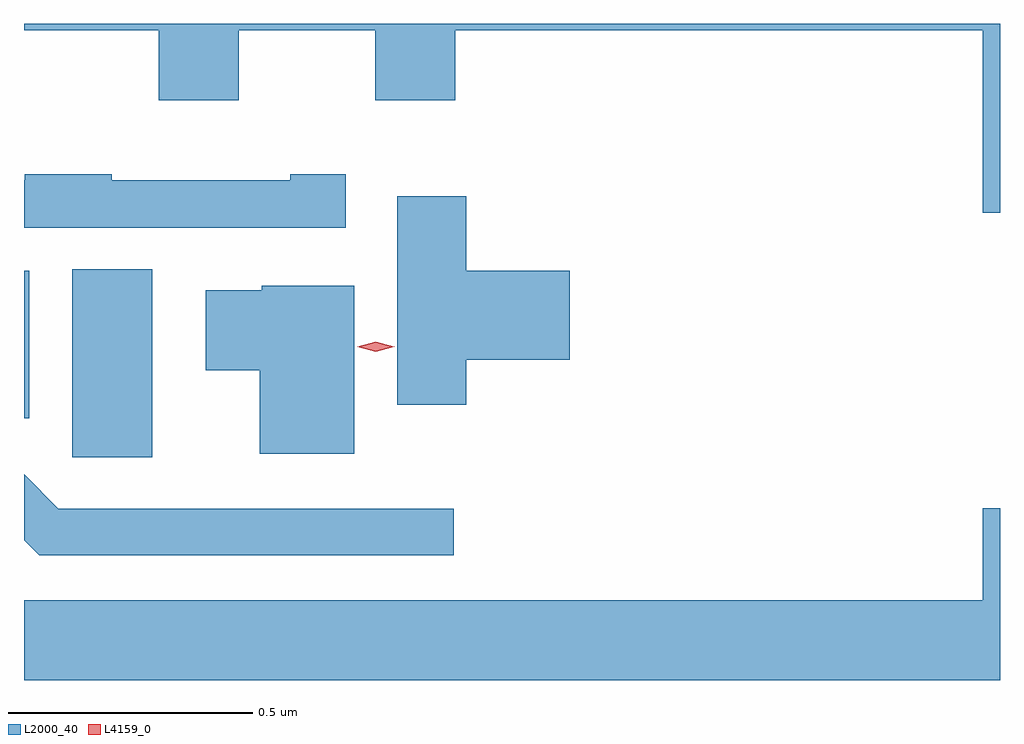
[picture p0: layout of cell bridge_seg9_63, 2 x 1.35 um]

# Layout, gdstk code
import gdstk
lib = gdstk.Library(unit=1e-6, precision=1e-09)
def R(c, l, rs):  # rectangles x0, y0, x1, y1
    for r in rs: c.add(gdstk.rectangle(r[:2], r[2:], *l))
def P(c, l, *ps):  # polygons
    for p in ps: c.add(gdstk.Polygon(p, *l))
L2000_40 = (2000, 40)
L4159_0 = (4159, 0)

bridge_seg9_63 = lib.new_cell('bridge_seg9_63')
R(bridge_seg9_63, L2000_40, [(1086.218,1179.561,1086.382,1179.947), (1086.119,1179.641,1086.13,1179.943)])
P(bridge_seg9_63, L2000_40, [(1088.119,1180.45),(1086.119,1180.45),(1086.119,1180.436),(1086.395,1180.436),(1086.395,1180.293),(1086.559,1180.293),(1086.559,1180.436),(1086.839,1180.436),(1086.839,1180.293),(1087.003,1180.293),(1087.003,1180.436),(1088.084,1180.436),(1088.084,1180.062),(1088.119,1180.062)],
  [(1086.778,1180.141),(1086.665,1180.141),(1086.665,1180.129),(1086.299,1180.129),(1086.299,1180.141),(1086.121,1180.141),(1086.121,1180.129),(1086.119,1180.129),(1086.119,1180.032),(1086.778,1180.032)],
  [(1087.025,1179.761),(1087.237,1179.761),(1087.237,1179.944),(1087.025,1179.944),(1087.025,1180.096),(1086.884,1180.096),(1086.884,1179.669),(1087.025,1179.669)],
  [(1086.796,1179.913),(1086.606,1179.913),(1086.606,1179.904),(1086.491,1179.904),(1086.491,1179.74),(1086.602,1179.74),(1086.602,1179.569),(1086.796,1179.569)],
  [(1087,1179.456),(1086.189,1179.456),(1086.119,1179.526),(1086.119,1179.391),(1086.15,1179.36),(1087,1179.36)],
  [(1088.119,1179.457),(1088.084,1179.457),(1088.084,1179.268),(1086.119,1179.268),(1086.119,1179.104),(1088.119,1179.104)])
P(bridge_seg9_63, L4159_0, [(1086.84,1179.778),(1086.802,1179.788),(1086.801,1179.788),(1086.802,1179.788),(1086.84,1179.798),(1086.878,1179.788),(1086.879,1179.788),(1086.878,1179.788)])

lib.write_gds('bridge_seg9_63.gds')
